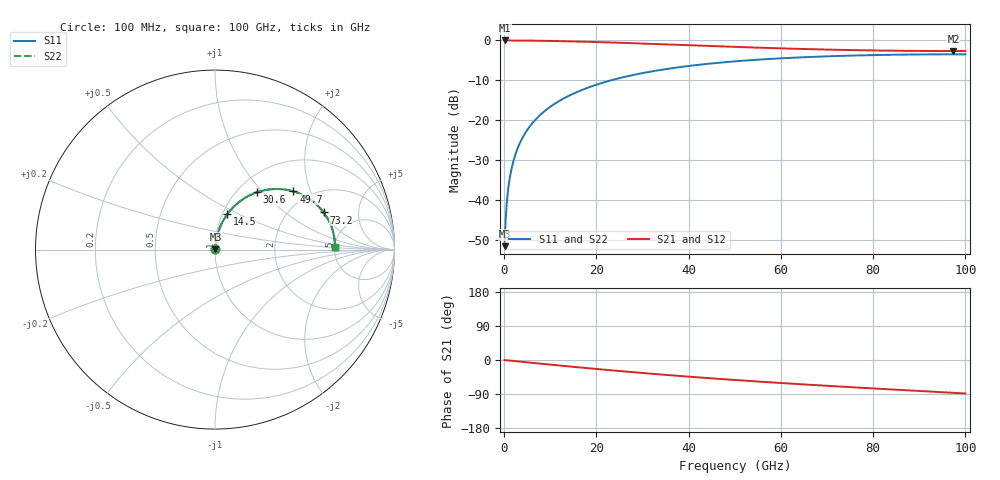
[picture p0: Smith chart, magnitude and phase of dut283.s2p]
! Touchstone file exported from HFSS 2026.1.0
!  File:  C:/ffzhzh/LocalFiles/Ansys_Project_Files/temp_train_RDL_283_1783502079_44152.aedt
!  Generated:  05:15:53 PM Jul  8, 2026
!  Design:  RDL
!  Project:  temp_train_RDL_283_1783502079_44152
! Variables:
!  h_bsmrdl = 2um
!  h_ox = 20um
!  h_rdl = 5um
!  h_sub = 80um
!  h_tmrdl = 3.38um
!  h_tsv = 80um
!  h_via = 3um
!  l_bsmrdl = 300um
!  l_sub = 676.09um
!  l_tmrdl = 276.09um
!  m_sub = 200um
!  pitch = 49.11um
!  r_tsv = 6um
!  s_tmrdl = 10um
!  w_bsmrdl = 18um
!  w_sub = 500um
!  w_tmrdl = 14.95um
!  x_tsv_center1 = 283.565um
!  x_tsv_center2 = 601.565um
!  x_tsv_center3 = 892.605um
!  x_tsv_center4 = 1210.605um
!  x_tsv_center5 = 1501.645um
!  x_tsv_center6 = 1819.645um
# GHz S MA R 50.000000
! Terminal data exported
! Port[1] = TM_RDL1_1_T1
! Port[2] = TM_RDL1_1_T2
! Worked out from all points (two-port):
!   1000 points, 100 MHz to 100 GHz, reference 50 ohm
!   highest |S21| = -0.02 dB at 100 MHz (marker M1); lowest = -2.7 dB at 97.4 GHz (marker M2)
!   |S21| within 3 dB of the highest: start of sweep to end of sweep
!   lowest |S11| = -51.6 dB at 100 MHz (marker M3), VSWR 1.01, Z = 50.2 + j0.16 ohm
!   |S11| at or under -10 dB: start of sweep to 23.22 GHz
!   |S22| runs from -51.6 to -3.5 dB; largest |S21 - S12| = 3.2e-15
!   S11 on the Smith chart (normalised r, x): 100 MHz: 1.00, +0.00; 14.5 GHz: 1.06, +0.43; 30.6 GHz: 1.22, +0.92; 49.7 GHz: 1.67, +1.54; 73.2 GHz: 2.97, +2.09; 100 GHz: 5.02, +0.24
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0.1  0.002633 37.2  0.9979 -0.1  0.9979 -0.1  0.002633 37.2
! Gamma 0 0 0 0
! Port Impedance 50 0 50 0
0.4  0.006667 69.8  0.9977 -0.5  0.9977 -0.5  0.006667 69.8
0.8  0.01257 78.0  0.9975 -1.0  0.9975 -1.0  0.01257 78.0
1.1  0.01703 80.2  0.9974 -1.4  0.9974 -1.4  0.01703 80.3
1.4  0.02152 81.5  0.9972 -1.7  0.9972 -1.7  0.02152 81.5
2.3  0.03501 82.7  0.9967 -2.9  0.9967 -2.9  0.03501 82.7
3.6  0.05447 82.4  0.9955 -4.5  0.9955 -4.5  0.05447 82.4
5.4  0.08112 80.8  0.9932 -6.7  0.9932 -6.7  0.08112 80.8
7.8  0.116 78.3  0.989 -9.6  0.989 -9.6  0.116 78.3
10.8  0.1583 74.9  0.9822 -13.2  0.9822 -13.2  0.1583 75.0
14.5  0.2084 70.8  0.9719 -17.5  0.9719 -17.5  0.2084 70.8
16.8  0.2383 68.3  0.9645 -20.1  0.9645 -20.1  0.2383 68.3
23.1  0.3149 61.5  0.9415 -27.1  0.9415 -27.1  0.3149 61.6
30.6  0.3949 53.8  0.9104 -34.9  0.9104 -34.9  0.3949 53.9
33.4  0.4216 51.1  0.8983 -37.7  0.8983 -37.7  0.4216 51.2
49.7  0.544 36.5  0.8302 -52.5  0.8302 -52.5  0.544 36.7
50.1  0.5463 36.2  0.8287 -52.8  0.8287 -52.8  0.5463 36.3
66.7  0.6211 23.5  0.775 -65.7  0.775 -65.7  0.6211 23.6
73.2  0.6399 18.9  0.7599 -70.4  0.7599 -70.4  0.6399 19.1
83.4  0.6595 12.0  0.7433 -77.3  0.7433 -77.3  0.6595 12.2
97.4  0.6688 2.8  0.7349 -86.6  0.7349 -86.6  0.6688 3.1
100  0.6685 1.1  0.7352 -88.3  0.7352 -88.3  0.6685 1.4
